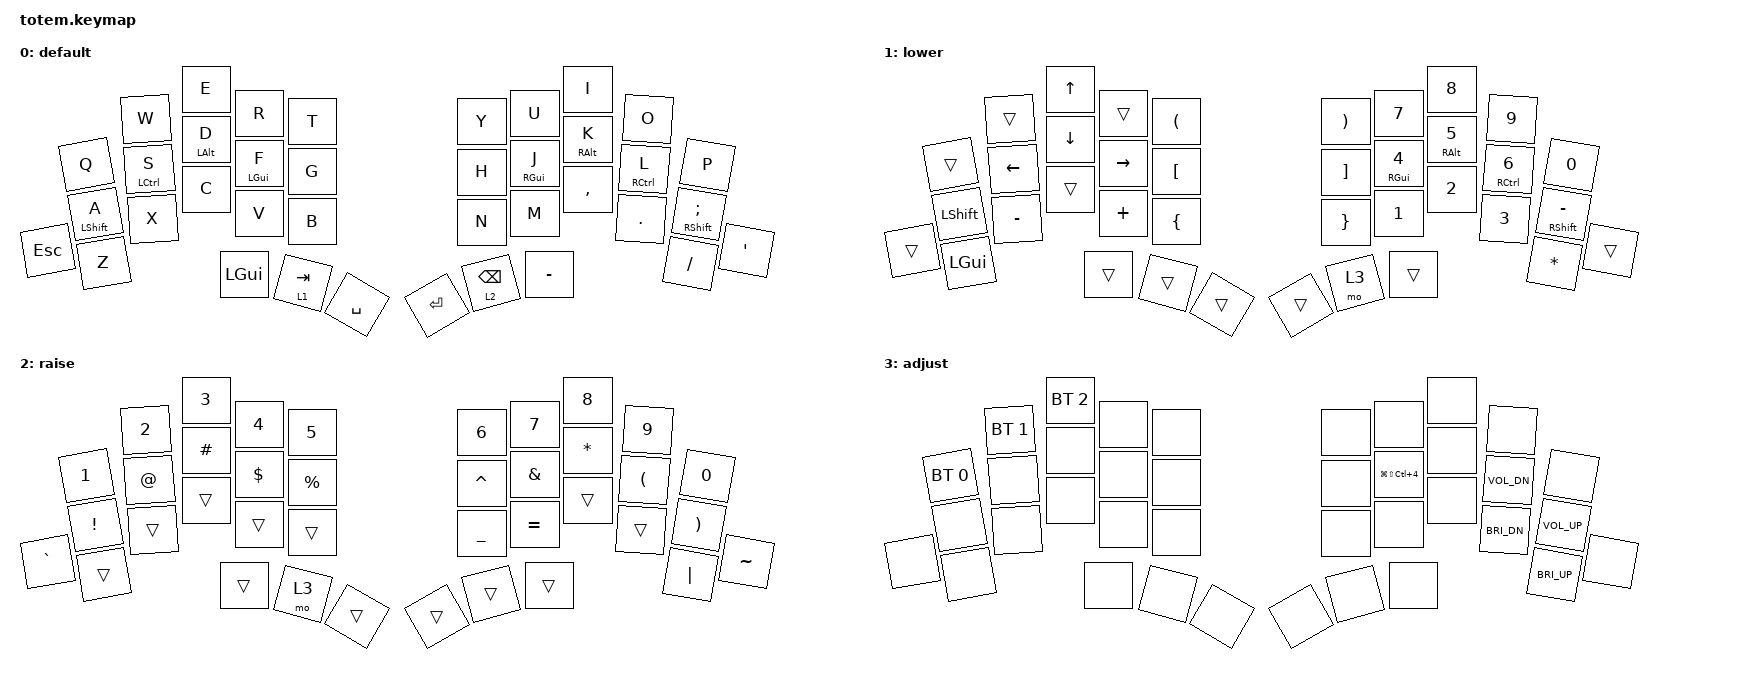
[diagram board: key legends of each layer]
/*
 * Copyright (c) 2020 The ZMK Contributors
 *
 * SPDX-License-Identifier: MIT
 */

#include <behaviors.dtsi>
#include <dt-bindings/zmk/bt.h>
#include <dt-bindings/zmk/ext_power.h>
#include <dt-bindings/zmk/keys.h>

#define BASE 0
#define LOWER 1
#define RAISE 2
#define ADJUST 3

// Totem 38-key position map:
//  0  1  2  3  4     5  6  7  8  9
// 10 11 12 13 14    15 16 17 18 19
// 20 21 22 23 24 25 26 27 28 29 30 31     (20/31 = outer pinky)
//          32 33 34    35 36 37           (3 thumbs per side)

/ {
    behaviors {
        hml: homerow_mods_left {
            compatible = "zmk,behavior-hold-tap";
            #binding-cells = <2>;
            tapping-term-ms = <220>;
            quick-tap-ms = <175>;
            require-prior-idle-ms = <80>;
            flavor = "balanced";
            bindings = <&kp>, <&kp>;
            hold-trigger-key-positions = <5 6 7 8 9 15 16 17 18 19 26 27 28 29 30 31 35 36 37>;
            hold-trigger-on-release;
        };

        hmr: homerow_mods_right {
            compatible = "zmk,behavior-hold-tap";
            #binding-cells = <2>;
            tapping-term-ms = <220>;
            quick-tap-ms = <175>;
            require-prior-idle-ms = <80>;
            flavor = "balanced";
            bindings = <&kp>, <&kp>;
            hold-trigger-key-positions = <0 1 2 3 4 10 11 12 13 14 20 21 22 23 24 25 32 33 34>;
            hold-trigger-on-release;
        };
    };

    keymap {
        compatible = "zmk,keymap";

        default_layer {
            display-name = "default";

            bindings = <
&kp Q         &kp W         &kp E        &kp R        &kp T                           &kp Y      &kp U        &kp I        &kp O         &kp P
&hml LSHFT A  &hml LCTRL S  &hml LALT D  &hml LGUI F  &kp G                           &kp H      &hmr RGUI J  &hmr RALT K  &hmr RCTRL L  &hmr RSHFT SEMI
&kp ESCAPE    &kp Z         &kp X        &kp C        &kp V        &kp B      &kp N  &kp M      &kp COMMA    &kp DOT      &kp FSLH      &kp SQT
                                         &kp LGUI     &lt 1 TAB    &kp SPACE  &kp ENTER  &lt 2 BACKSPACE  &kp MINUS
            >;
        };

        lower_layer {
            display-name = "lower";

            bindings = <
&trans     &trans     &kp UP    &trans     &kp LPAR                           &kp RPAR    &kp N7        &kp N8        &kp N9         &kp N0
&kp LSHFT  &kp LEFT   &kp DOWN  &kp RIGHT  &kp LBKT                           &kp RBKT    &hmr RGUI N4  &hmr RALT N5  &hmr RCTRL N6  &hmr RSHFT MINUS
&trans     &kp LGUI   &kp MINUS &trans     &kp PLUS   &kp LBRC       &kp RBRC  &kp N1      &kp N2        &kp N3        &kp STAR       &trans
                                &trans     &trans     &trans          &trans    &mo 3      &trans
            >;
        };

        raise_layer {
            display-name = "raise";

            bindings = <
&kp N1    &kp N2  &kp N3    &kp N4      &kp N5                                   &kp N6     &kp N7    &kp N8    &kp N9    &kp N0
&kp EXCL  &kp AT  &kp HASH  &kp DOLLAR  &kp PERCENT                              &kp CARET  &kp AMPS  &kp STAR  &kp LPAR  &kp RPAR
&kp GRAVE &trans  &trans    &trans      &trans       &trans       &kp UNDER      &kp EQUAL  &trans    &trans    &kp PIPE  &kp TILDE
                            &trans      &mo 3        &trans       &trans         &trans     &trans
            >;
        };

        adjust_layer {
            display-name = "adjust";

            bindings = <
&bt BT_SEL 0  &bt BT_SEL 1  &bt BT_SEL 2  &none  &none                           &none  &none  &none        &none        &none
&none         &none         &none         &none  &none                           &none  &kp LG(LS(LC(N4)))  &none  &kp C_VOL_DN &kp C_VOL_UP
&none         &none         &none         &none  &none  &none          &none     &none  &none  &kp C_BRI_DN &kp C_BRI_UP &none
                                          &none  &none  &none          &none     &none  &none
            >;
        };
    };
};
